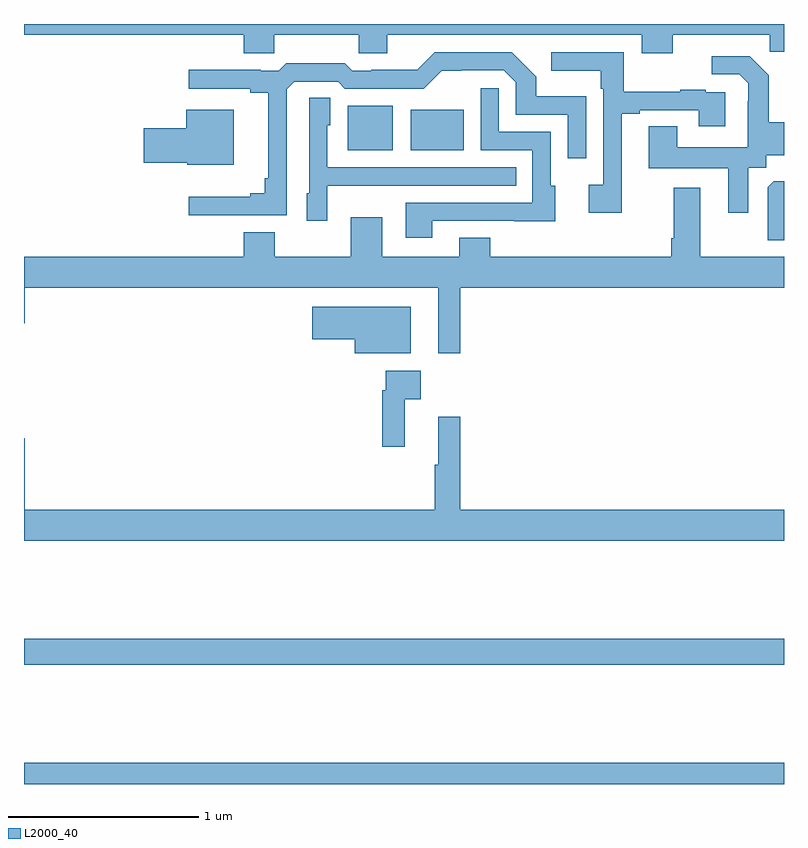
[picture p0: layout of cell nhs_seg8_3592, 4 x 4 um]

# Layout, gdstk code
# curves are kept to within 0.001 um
import gdstk
lib = gdstk.Library(unit=1e-6, precision=1e-09)
def R(c, l, rs):  # rectangles x0, y0, x1, y1
    for r in rs: c.add(gdstk.rectangle(r[:2], r[2:], *l))
def P(c, l, *ps):  # polygons
    for p in ps: c.add(gdstk.Polygon(p, *l))
L2000_40 = (2000, 40)

nhs_seg8_3592 = lib.new_cell('nhs_seg8_3592')
R(nhs_seg8_3592, L2000_40, [(333,1101.9,337,1102.012), (333,1102.528,337,1102.664), (334.703,1105.235,334.942,1105.471), (335.036,1105.235,335.314,1105.45)])
P(nhs_seg8_3592, L2000_40, [(336.415,1105.844),(336.925,1105.844),(336.925,1105.754),(337,1105.754),(337,1105.9),(333,1105.9),(333,1105.844),(334.157,1105.844),(334.157,1105.746),(334.317,1105.746),(334.317,1105.844),(334.762,1105.844),(334.762,1105.746),(334.912,1105.746),(334.912,1105.844),(336.251,1105.844),(336.251,1105.745),(336.415,1105.745)],
  [(336.145,1105.428),(336.241,1105.428),(336.241,1105.446),(336.551,1105.446),(336.551,1105.362),(336.691,1105.362),(336.691,1105.542),(336.587,1105.542),(336.587,1105.555),(336.455,1105.555),(336.455,1105.544),(336.157,1105.544),(336.157,1105.752),(335.775,1105.752),(335.775,1105.655),(336.036,1105.655),(336.036,1105.559),(336.048,1105.559),(336.048,1105.054),(335.973,1105.054),(335.973,1104.906),(336.145,1104.906)],
  [(334.383,1105.557),(334.422,1105.596),(334.653,1105.596),(334.689,1105.56),(335.103,1105.56),(335.198,1105.655),(335.526,1105.656),(335.589,1105.593),(335.589,1105.422),(335.862,1105.422),(335.862,1105.194),(335.958,1105.194),(335.958,1105.519),(335.697,1105.519),(335.697,1105.622),(335.566,1105.752),(335.163,1105.752),(335.069,1105.658),(334.828,1105.658),(334.828,1105.653),(334.728,1105.653),(334.689,1105.693),(334.381,1105.693),(334.341,1105.653),(334.247,1105.653),(334.247,1105.658),(333.867,1105.658),(333.867,1105.56),(334.19,1105.56),(334.19,1105.538),(334.286,1105.538),(334.286,1105.087),(334.267,1105.087),(334.267,1105.01),(334.19,1105.01),(334.19,1104.991),(333.867,1104.991),(333.867,1104.894),(334.383,1104.894)],
  [(336.811,1105.144),(336.906,1105.144),(336.906,1105.208),(337,1105.208),(337,1105.384),(336.921,1105.384),(336.921,1105.629),(336.821,1105.729),(336.621,1105.729),(336.621,1105.635),(336.765,1105.635),(336.812,1105.588),(336.812,1105.493),(336.81,1105.493),(336.81,1105.252),(336.439,1105.252),(336.439,1105.361),(336.287,1105.361),(336.287,1105.142),(336.707,1105.142),(336.707,1104.906),(336.811,1104.906)],
  [(335.149,1104.864),(335.579,1104.864),(335.579,1104.863),(335.797,1104.863),(335.797,1105.05),(335.772,1105.05),(335.772,1105.332),(335.499,1105.332),(335.499,1105.561),(335.403,1105.561),(335.403,1105.236),(335.676,1105.236),(335.676,1104.96),(335.009,1104.96),(335.009,1104.774),(335.149,1104.774)],
  [(334.596,1105.049),(334.913,1105.049),(334.913,1105.05),(335.591,1105.05),(335.591,1105.146),(334.596,1105.146),(334.596,1105.368),(334.612,1105.368),(334.612,1105.511),(334.5,1105.511),(334.5,1105.008),(334.487,1105.008),(334.487,1104.864),(334.596,1104.864)],
  [(334.105,1105.45),(333.854,1105.45),(333.854,1105.352),(333.63,1105.352),(333.63,1105.169),(333.858,1105.169),(333.858,1105.16),(334.105,1105.16)],
  [(337,1105.073),(336.947,1105.073),(336.915,1105.041),(336.915,1104.761),(337,1104.761)],
  [(335.297,1104.512),(337,1104.512),(337,1104.676),(336.559,1104.676),(336.559,1105.039),(336.419,1105.039),(336.419,1104.772),(336.407,1104.772),(336.407,1104.676),(335.455,1104.676),(335.455,1104.775),(335.291,1104.775),(335.291,1104.676),(334.885,1104.676),(334.885,1104.883),(334.721,1104.883),(334.721,1104.676),(334.321,1104.676),(334.321,1104.805),(334.157,1104.805),(334.157,1104.676),(333,1104.676),(333,1104.324),(333.004,1104.324),(333.004,1104.512),(335.18,1104.512),(335.18,1104.168),(335.297,1104.168)],
  [(335.035,1104.412),(334.518,1104.412),(334.518,1104.242),(334.742,1104.242),(334.742,1104.167),(335.035,1104.167)],
  [(335.003,1103.924),(335.089,1103.924),(335.089,1104.076),(334.905,1104.076),(334.905,1103.972),(334.885,1103.972),(334.885,1103.676),(335.003,1103.676)],
  [(337,1103.344),(335.297,1103.344),(335.297,1103.833),(335.18,1103.833),(335.18,1103.58),(335.161,1103.58),(335.161,1103.344),(333.004,1103.344),(333.004,1103.719),(333,1103.719),(333,1103.18),(337,1103.18)])

lib.write_gds('nhs_seg8_3592.gds')
